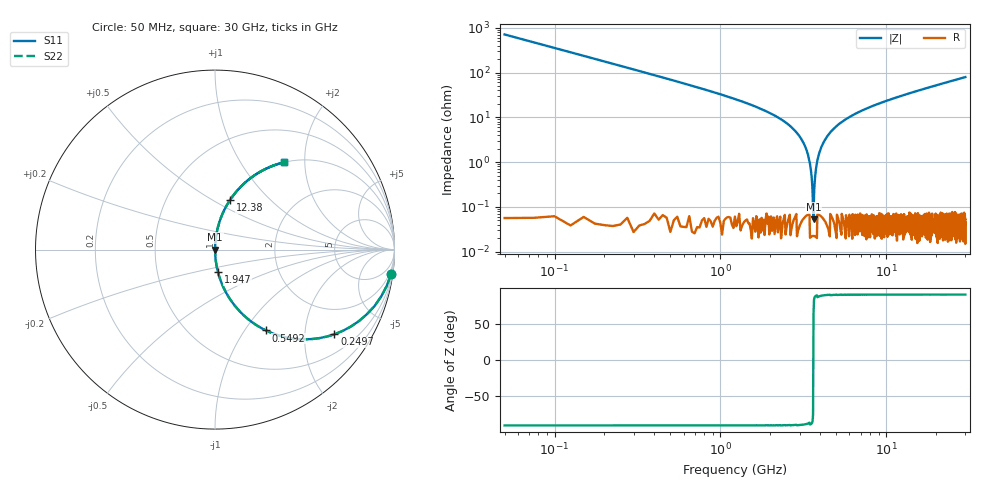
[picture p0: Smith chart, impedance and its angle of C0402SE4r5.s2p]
!	AVX Thin Film Operation 	Date: April 2014
!	Description: Accu-P® Series, Thin Film  SMD RF Capacitor
!	Part Number: 04025J4R5ABSTR
# MHZ S MA R 50
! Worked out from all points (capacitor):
!   1201 points, 50 MHz to 30 GHz, reference 50 ohm
!   read as one part in series: C = 4.5 pF near 199.8 MHz
!   lowest |Z| = 52.6 mohm at 3.644 GHz (marker M1)
!   series resonance near 3.635 GHz, so ESL is about 430 pH
!   S11 on the Smith chart (normalised r, x): 50 MHz: 1, -14; 249.7 MHz: 1.00, -2.82; 549.2 MHz: 1.00, -1.26; 1.947 GHz: 1.00, -0.26; 12.38 GHz: 1.00, +0.61; 30 GHz: 1.00, +1.58
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50  0.99 -8.0  0.14 81.9  0.14 81.9  0.99 -8.0
249.667  0.816 -35.3  0.578 54.6  0.578 54.6  0.816 -35.3
549.167  0.532 -57.8  0.846 32.2  0.846 32.2  0.532 -57.8
1023.375  0.303 -72.3  0.953 17.6  0.953 17.6  0.303 -72.3
1946.833  0.128 -82.4  0.991 7.4  0.991 7.4  0.128 -82.4
2670.625  0.061 -86.1  0.998 3.5  0.998 3.5  0.061 -86.1
3119.875  0.03 -87.4  0.999 1.7  0.999 1.7  0.03 -87.4
3344.5  0.016 -87.5  0.999 0.9  0.999 0.9  0.016 -87.5
3519.208  0.006316 -85.6  1 0.4  1 0.4  0.006316 -85.6
3644  0.0006571 46.8  1 -0.0  1 -0.0  0.0006571 46.8
3743.833  0.005754 85.2  1 -0.3  1 -0.3  0.005754 85.2
3893.583  0.013 87.3  0.999 -0.8  0.999 -0.8  0.013 87.3
4093.25  0.023 87.6  0.999 -1.3  0.999 -1.3  0.023 87.6
4467.625  0.04 87.0  0.999 -2.3  0.999 -2.3  0.04 87.0
5041.667  0.065 85.9  0.997 -3.7  0.997 -3.7  0.065 85.9
6913.542  0.133 82.2  0.991 -7.6  0.991 -7.6  0.133 82.2
10058.29  0.228 76.7  0.973 -13.2  0.973 -13.2  0.228 76.7
12379.42  0.29 73.1  0.957 -16.8  0.957 -16.8  0.29 73.1
15025  0.354 69.2  0.935 -20.7  0.935 -20.7  0.354 69.2
20016.67  0.46 62.6  0.888 -27.4  0.888 -27.4  0.46 62.6
25033.29  0.548 56.7  0.836 -33.2  0.836 -33.2  0.548 56.7
30000  0.62 51.6  0.784 -38.3  0.784 -38.3  0.62 51.6
